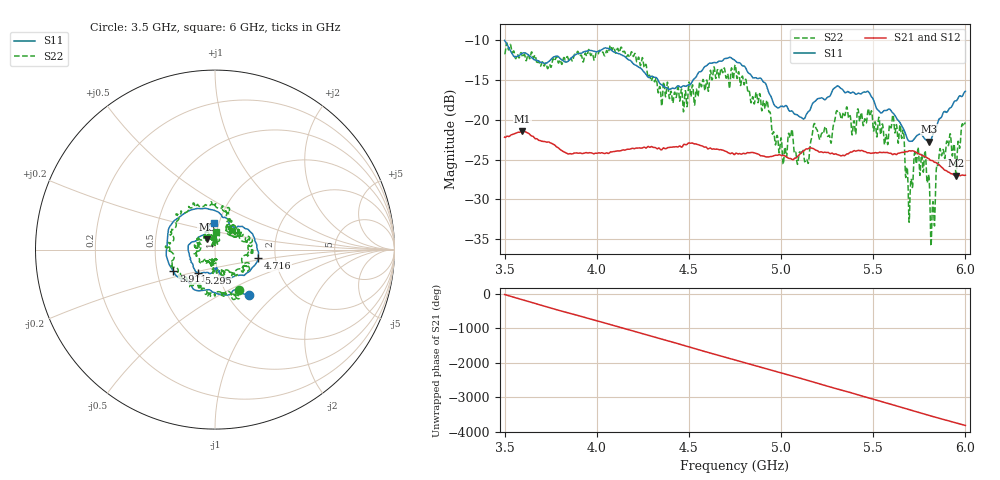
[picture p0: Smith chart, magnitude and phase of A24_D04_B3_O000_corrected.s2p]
! Created with skrf 1.9.0 (http://scikit-rf.org).
# Hz S RI R 50.0
!freq ReS11 ImS11 ReS21 ImS21 ReS12 ImS12 ReS22 ImS22
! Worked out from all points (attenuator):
!   1601 points, 3.5 GHz to 6 GHz, reference 50 ohm
!   highest |S21| = -21.42 dB at 3.595 GHz (marker M1); lowest = -27.0 dB at 5.948 GHz (marker M2)
!   lowest |S11| = -22.7 dB at 5.805 GHz (marker M3), VSWR 1.16, Z = 45.3 + j5.19 ohm
!   |S11| at or under -10 dB: start of sweep to end of sweep
!   |S22| runs from -35.9 to -10.3 dB; largest |S21 - S12| = 0.00097
!   S11 on the Smith chart (normalised r, x): 3.5 GHz: 1.25, -0.70; 3.911 GHz: 0.61, -0.16; 4.716 GHz: 1.63, -0.16; 5.295 GHz: 0.80, -0.22; 6 GHz: 0.95, +0.29
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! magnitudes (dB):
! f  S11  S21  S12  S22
! 3.5 GHz  -10.0  -22.2  -22.2  -11.7
! 3.595 GHz  -11.6  -21.4  -21.4  -12.0
! 3.911 GHz  -11.6  -24.2  -24.1  -12.0
! 3.917 GHz  -11.6  -24.2  -24.2  -11.9
! 4.139 GHz  -11.9  -23.8  -23.8  -11.3
! 4.334 GHz  -15.1  -23.6  -23.5  -16.6
! 4.716 GHz  -12.2  -24.2  -24.2  -15.1
! 4.75 GHz  -12.5  -24.3  -24.2  -13.1
! 5.019 GHz  -18.3  -24.5  -24.5  -23.6
! 5.139 GHz  -19.3  -23.7  -23.6  -25.0
! 5.167 GHz  -18.1  -23.6  -23.5  -22.2
! 5.295 GHz  -15.9  -24.3  -24.2  -19.5
! 5.584 GHz  -18.7  -24.2  -24.1  -21.6
! 5.655 GHz  -20.8  -24.1  -24.0  -22.3
! 5.702 GHz  -22.7  -23.9  -23.9  -28.4
! 5.733 GHz  -22.1  -24.1  -24.0  -25.5
! 5.773 GHz  -22.2  -24.6  -24.5  -26.2
! 5.805 GHz  -22.7  -25.0  -24.9  -28.0
! 5.823 GHz  -21.9  -25.2  -25.1  -30.3
! 5.869 GHz  -19.7  -25.9  -25.8  -24.4
! 5.948 GHz  -17.6  -27.0  -27.0  -27.3
! 6 GHz  -16.4  -27.0  -26.9  -20.3
